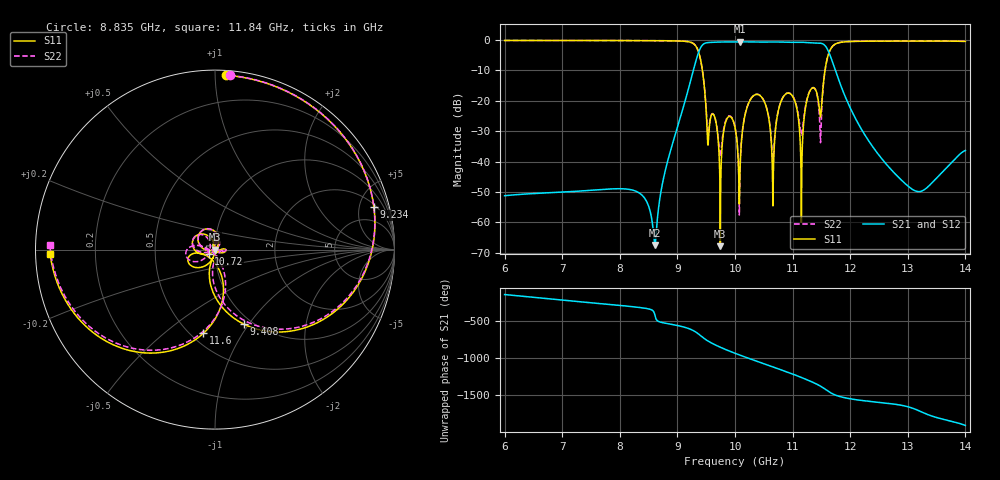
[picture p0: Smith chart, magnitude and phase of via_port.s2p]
! TOUCHSTONE file generated by CST MICROWAVE STUDIO
! Date and time: Tue Nov  7 19:43:22 2023
! Project name: filter_ekran_1.cst
! Parameters = {shir=10; rad_g=0.49; h=0.5; t=0.018; rad_pit=0.3; dl_3=2; l_3=5; dl_2=2.5; l_2=5; dl_1=2; l_1=7; rad_vint=1.5; st=0.5; vis_ekr=3.5}
! Header version: 2018
! Port assignment regex: !\s*Touchstone port\s*([0-9]+)\s*=\s*(CST MWS port|CST DS port)\s*([0-9]+|Zmin|Zmax)\s*\(\"(.*)\"\)(\s*mode\s*([0-9]+))?.*
! Touchstone port assignment:
! Touchstone port 1 = CST MWS port 3 ("")
! Touchstone port 2 = CST MWS port 4 ("")
# GHz S RI R 50
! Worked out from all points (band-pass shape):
!   5001 points, 6 GHz to 14 GHz, reference 50 ohm
!   highest |S21| = -0.57 dB at 10.09 GHz (marker M1); lowest = -67.4 dB at 8.61 GHz (marker M2)
!   |S21| within 3 dB of the highest: 9.377 GHz to 11.62 GHz (2.242 GHz wide, 21.4 % of centre)
!   lowest |S11| = -67.8 dB at 9.746 GHz (marker M3), VSWR 1.00, Z = 50 + j0.0372 ohm
!   |S11| at or under -10 dB: 9.434 GHz to 11.56 GHz (2.128 GHz wide, 20.3 % of centre)
!   |S22| runs from -57.6 to -0.1 dB; largest |S21 - S12| = 0.00038
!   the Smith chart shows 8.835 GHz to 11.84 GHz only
!   S11 on the Smith chart (normalised r, x): 8.835 GHz: 0.03, +1.07; 9.234 GHz: 2.34, +6.86; 9.408 GHz: 0.91, -0.95; 10.72 GHz: 0.93, -0.05; 11.6 GHz: 0.58, -0.69; 11.84 GHz: 0.04, -0.01
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6  0.6008 -0.7805  -0.00238 -0.00137  -0.00238 -0.00137  0.5995 -0.7814
7.3344  -0.8953 -0.4075  -0.00118 0.00306  -0.00118 0.00306  -0.9079 -0.3792
8.6096  -0.3207 0.923  0.000159 -0.000394  0.00016 -0.00038  -0.2931 0.9329
8.6672  -0.2327 0.9482  -0.00135 -0.000782  -0.00134 -0.000767  -0.2059 0.9552
8.8352  0.0629 0.9713  -0.0105 0.000367  -0.0105 0.000375  0.0845 0.9705
9.2336  0.8853 0.2358  -0.0426 0.2174  -0.0426 0.2174  0.884 0.2462
9.408  0.1603 -0.4151  0.7421 0.1832  0.7423 0.1832  0.1875 -0.4068
9.5696  0.0485 0.0042  0.2809 -0.8701  0.2812 -0.87  0.0507 0.00103
9.7456  -0.00016 0.000372  -0.6972 -0.6131  -0.6972 -0.6132  0.00875 0.00837
10  0.0215 0.0293  -0.7232 0.5923  -0.7232 0.5923  0.0254 0.0267
10.088  -0.00755 -0.00131  -0.3923 0.8499  -0.3923 0.8499  -0.0074 -0.00134
10.3072  -0.0936 0.0715  0.5602 0.7409  0.5602 0.7409  -0.0922 0.0746
10.6528  0.004 0.00188  0.6984 -0.6178  0.6984 -0.6178  -0.00422 0.0095
10.7152  -0.0352 -0.0244  0.4818 -0.7962  0.4818 -0.7962  -0.0418 -0.0138
11.0832  -0.0216 0.063  -0.8816 -0.265  -0.8816 -0.2651  -0.0389 0.0599
11.1568  0.000698 -0.0047  -0.915 0.0946  -0.915 0.0946  -0.028 5.27e-05
11.3344  -0.1343 -0.0887  -0.3941 0.8073  -0.3941 0.8074  -0.1556 -0.0459
11.4832  -0.0322 -0.0437  0.4597 0.7598  0.4597 0.7598  -0.0173 -0.0121
11.5952  -0.0645 -0.466  0.7333 0.0199  0.7333 0.0199  -0.0713 -0.4606
11.84  -0.9186 -0.0243  0.0143 -0.1748  0.0142 -0.1748  -0.9201 0.0269
12.6672  -0.0794 0.9578  -0.00815 -0.000884  -0.00813 -0.000889  -0.0536 0.9615
14  0.9334 -0.1815  -0.00519 -0.0143  -0.00519 -0.0143  0.9346 -0.1728
